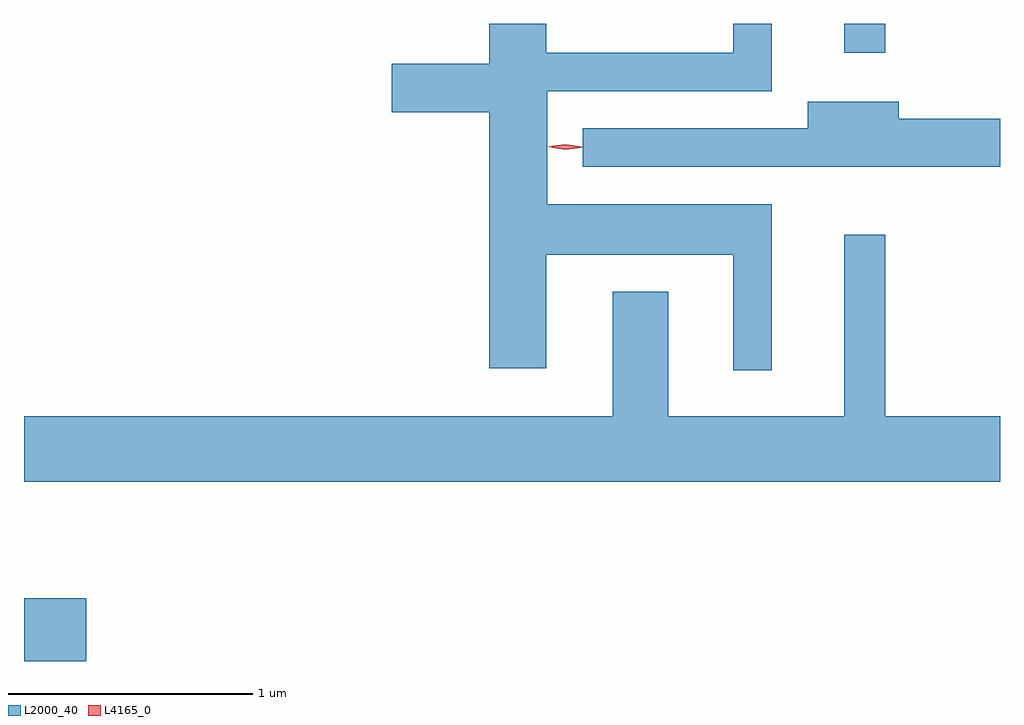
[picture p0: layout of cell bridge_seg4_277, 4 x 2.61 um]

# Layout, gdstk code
import gdstk
lib = gdstk.Library(unit=1e-6, precision=1e-09)
def R(c, l, rs):  # rectangles x0, y0, x1, y1
    for r in rs: c.add(gdstk.rectangle(r[:2], r[2:], *l))
def P(c, l, *ps):  # polygons
    for p in ps: c.add(gdstk.Polygon(p, *l))
L2000_40 = (2000, 40)
L4165_0 = (4165, 0)

bridge_seg4_277 = lib.new_cell('bridge_seg4_277')
R(bridge_seg4_277, L2000_40, [(561.559,1389.461,561.814,1389.719), (564.921,1391.953,565.089,1392.072)])
P(bridge_seg4_277, L2000_40, [(564.624,1391.334),(563.704,1391.334),(563.704,1391.796),(564.624,1391.796),(564.624,1392.072),(564.466,1392.072),(564.466,1391.954),(563.699,1391.954),(563.699,1392.072),(563.466,1392.072),(563.466,1391.909),(563.066,1391.909),(563.066,1391.711),(563.466,1391.711),(563.466,1390.661),(563.699,1390.661),(563.699,1391.126),(564.466,1391.126),(564.466,1390.653),(564.624,1390.653)],
  [(565.559,1391.684),(565.144,1391.684),(565.144,1391.754),(564.771,1391.754),(564.771,1391.644),(563.848,1391.644),(563.848,1391.486),(565.559,1391.486)],
  [(565.559,1390.464),(565.089,1390.464),(565.089,1391.208),(564.921,1391.208),(564.921,1390.464),(564.199,1390.464),(564.199,1390.974),(563.971,1390.974),(563.971,1390.464),(561.559,1390.464),(561.559,1390.196),(565.559,1390.196)])
P(bridge_seg4_277, L4165_0, [(563.777,1391.556),(563.711,1391.566),(563.711,1391.566),(563.711,1391.567),(563.777,1391.576),(563.842,1391.566),(563.843,1391.566),(563.842,1391.565)],
  [(563.776,1391.56),(563.707,1391.57),(563.707,1391.57),(563.707,1391.571),(563.777,1391.58),(563.846,1391.569),(563.846,1391.569),(563.846,1391.568)])

lib.write_gds('bridge_seg4_277.gds')
